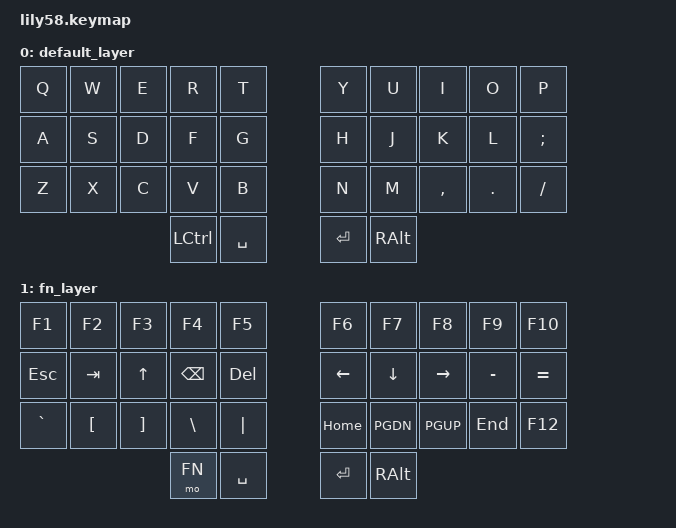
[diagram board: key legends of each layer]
/ {
    keymap {
        compatible = "zmk,keymap";

        default_layer {
            bindings = <
                &kp Q    &kp W    &kp E    &kp R    &kp T           &kp Y    &kp U    &kp I    &kp O    &kp P
                &kp A    &kp S    &kp D    &kp F    &kp G           &kp H    &kp J    &kp K    &kp L    &kp SEMI
                &kp Z    &kp X    &kp C    &kp V    &kp B           &kp N    &kp M    &kp COMMA &kp DOT  &kp SLASH

                                   &kp LCTRL &kp SPACE        &kp ENTER &kp RALT
            >;
        };

        fn_layer {
            bindings = <
                &kp F1   &kp F2   &kp F3   &kp F4   &kp F5          &kp F6   &kp F7   &kp F8   &kp F9   &kp F10
                &kp ESC  &kp TAB  &kp UP   &kp BSPC &kp DEL         &kp LEFT &kp DOWN &kp RIGHT &kp MINUS &kp EQUAL
                &kp GRAVE &kp LBKT &kp RBKT &kp BSLH &kp PIPE       &kp HOME &kp PGDN &kp PGUP &kp END  &kp F12

                                   &mo FN   &kp SPACE        &kp ENTER &kp RALT
            >;
        };
    };
};
